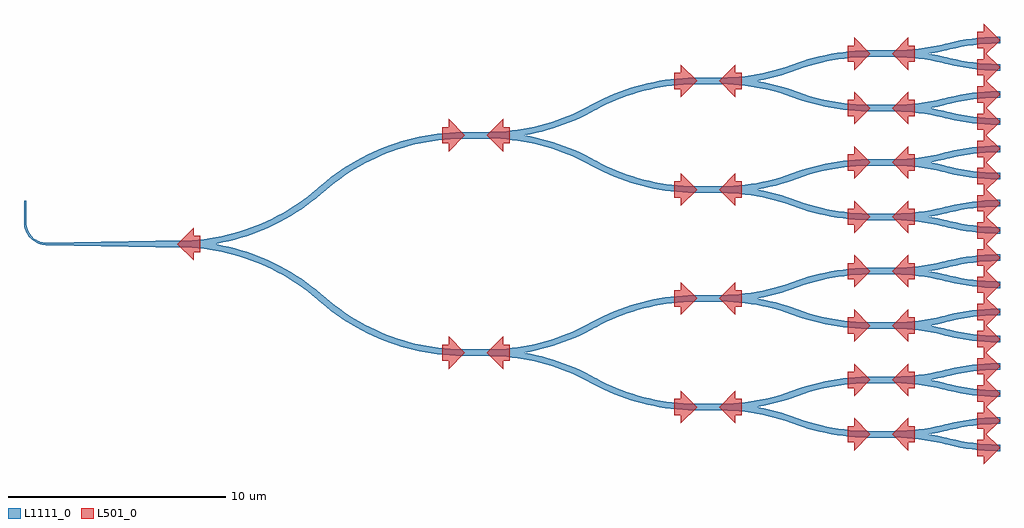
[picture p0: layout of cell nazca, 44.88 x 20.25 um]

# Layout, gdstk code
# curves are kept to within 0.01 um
import gdstk
lib = gdstk.Library(unit=1e-6, precision=1e-09)
def R(c, l, rs):  # rectangles x0, y0, x1, y1
    for r in rs: c.add(gdstk.rectangle(r[:2], r[2:], *l))
def P(c, l, *ps):  # polygons
    for p in ps: c.add(gdstk.Polygon(p, *l))
L501_0 = (501, 0)
L1111_0 = (1111, 0)

laser = lib.new_cell('laser')
R(laser, L1111_0, [(-0.05,-1,0.05,0)])
P(laser, L1111_0, [(-0.05,-1),(0.05,-1),(0.07,-1.195),(0.115,-1.345),(0.184,-1.486),(0.328,-1.672),(0.514,-1.816),(0.655,-1.885),(0.805,-1.93),(1,-1.95),(1,-2.05),(0.784,-2.028),(0.618,-1.978),(0.462,-1.902),(0.257,-1.743),(0.098,-1.538),(0.022,-1.382),(-0.028,-1.216)])

mymmi = lib.new_cell('myMMI')
P(mymmi, L501_0, [(14.229,-5),(13.479,-5.75),(13.479,-5.375),(13.179,-5.375),(13.179,-4.625),(13.479,-4.625),(13.479,-4.25)],
  [(1,0),(1.75,0.75),(1.75,0.375),(2.05,0.375),(2.05,-0.375),(1.75,-0.375),(1.75,-0.75)],
  [(14.229,5),(13.479,4.25),(13.479,4.625),(13.179,4.625),(13.179,5.375),(13.479,5.375),(13.479,5.75)],
  [(1,0),(1.75,0.75),(1.75,0.375),(2.05,0.375),(2.05,-0.375),(1.75,-0.375),(1.75,-0.75)])
R(mymmi, L1111_0, [(0,-0.15,1,0.15)])
P(mymmi, L1111_0, [(7.515,-2.612),(7.714,-2.387),(8.027,-2.653),(8.462,-2.986),(9.147,-3.438),(9.868,-3.832),(10.618,-4.165),(11.394,-4.434),(11.923,-4.577),(12.459,-4.69),(13.272,-4.804),(13.818,-4.842),(14.229,-4.85),(14.229,-5.15),(13.806,-5.142),(13.243,-5.102),(12.405,-4.985),(11.579,-4.798),(10.772,-4.544),(9.989,-4.223),(9.484,-3.973),(8.992,-3.695),(8.286,-3.229),(7.838,-2.886)],
  [(1,-0.15),(1,0.15),(1.705,0.126),(2.546,0.032),(3.101,-0.069),(3.649,-0.202),(4.19,-0.364),(4.72,-0.556),(5.239,-0.777),(5.993,-1.163),(6.476,-1.454),(6.943,-1.771),(7.391,-2.114),(7.714,-2.387),(7.515,-2.613),(7.202,-2.347),(6.767,-2.014),(6.314,-1.706),(5.845,-1.424),(5.361,-1.168),(4.864,-0.939),(4.096,-0.649),(3.306,-0.423),(2.5,-0.265),(1.684,-0.173)],
  [(7.714,2.387),(7.515,2.613),(8.06,3.061),(8.517,3.391),(8.992,3.695),(9.484,3.973),(10.247,4.337),(10.772,4.544),(11.308,4.721),(12.128,4.931),(12.683,5.032),(13.243,5.102),(13.806,5.142),(14.229,5.15),(14.229,4.85),(13.818,4.842),(13.272,4.804),(12.729,4.735),(12.19,4.637),(11.394,4.434),(10.875,4.262),(10.365,4.061),(9.624,3.708),(8.914,3.294),(8.242,2.822)],
  [(1,-0.15),(1,0.15),(1.411,0.158),(1.957,0.196),(2.77,0.31),(3.571,0.491),(4.354,0.738),(5.114,1.05),(5.605,1.292),(6.082,1.562),(6.767,2.014),(7.202,2.347),(7.515,2.613),(7.714,2.387),(7.391,2.114),(6.943,1.771),(6.236,1.305),(5.745,1.027),(5.239,0.777),(4.456,0.456),(3.649,0.202),(2.824,0.015),(1.986,-0.102),(1.423,-0.142)])

mymmi_387 = lib.new_cell('myMMI_387')
P(mymmi_387, L501_0, [(10.682,-2.5),(9.932,-3.25),(9.932,-2.875),(9.632,-2.875),(9.632,-2.125),(9.932,-2.125),(9.932,-1.75)],
  [(1,0),(1.75,0.75),(1.75,0.375),(2.05,0.375),(2.05,-0.375),(1.75,-0.375),(1.75,-0.75)],
  [(10.682,2.5),(9.932,1.75),(9.932,2.125),(9.632,2.125),(9.632,2.875),(9.932,2.875),(9.932,3.25)],
  [(1,0),(1.75,0.75),(1.75,0.375),(2.05,0.375),(2.05,-0.375),(1.75,-0.375),(1.75,-0.75)])
R(mymmi_387, L1111_0, [(0,-0.15,1,0.15)])
P(mymmi_387, L1111_0, [(5.769,-1.381),(5.914,-1.119),(6.497,-1.417),(6.977,-1.627),(7.467,-1.811),(8.22,-2.038),(8.73,-2.155),(9.506,-2.28),(10.028,-2.329),(10.682,-2.35),(10.682,-2.65),(10.008,-2.628),(9.47,-2.578),(8.936,-2.499),(8.145,-2.328),(7.626,-2.179),(6.864,-1.905),(6.369,-1.688)],
  [(1,-0.15),(1,0.15),(1.405,0.142),(1.944,0.106),(2.48,0.042),(3.011,-0.051),(3.798,-0.243),(4.567,-0.497),(5.313,-0.812),(5.914,-1.119),(5.769,-1.381),(5.186,-1.083),(4.705,-0.873),(4.215,-0.689),(3.463,-0.462),(2.952,-0.345),(2.176,-0.22),(1.655,-0.171)],
  [(5.914,1.119),(5.769,1.381),(6.127,1.57),(6.615,1.8),(7.116,2.003),(7.626,2.179),(8.407,2.392),(9.203,2.542),(10.008,2.628),(10.682,2.65),(10.682,2.35),(10.028,2.329),(9.506,2.28),(8.73,2.155),(8.22,2.038),(7.467,1.811),(6.977,1.627),(6.497,1.417)],
  [(1,-0.15),(1,0.15),(1.655,0.171),(2.176,0.22),(2.952,0.345),(3.463,0.462),(4.215,0.689),(4.705,0.873),(5.186,1.083),(5.769,1.381),(5.914,1.119),(5.313,0.812),(4.818,0.595),(4.057,0.321),(3.538,0.172),(2.746,0.001),(2.212,-0.078),(1.674,-0.128)])

mymmi_399 = lib.new_cell('myMMI_399')
P(mymmi_399, L501_0, [(10.682,-2.5),(9.932,-3.25),(9.932,-2.875),(9.632,-2.875),(9.632,-2.125),(9.932,-2.125),(9.932,-1.75)],
  [(1,0),(1.75,0.75),(1.75,0.375),(2.05,0.375),(2.05,-0.375),(1.75,-0.375),(1.75,-0.75)],
  [(10.682,2.5),(9.932,1.75),(9.932,2.125),(9.632,2.125),(9.632,2.875),(9.932,2.875),(9.932,3.25)],
  [(1,0),(1.75,0.75),(1.75,0.375),(2.05,0.375),(2.05,-0.375),(1.75,-0.375),(1.75,-0.75)])
R(mymmi_399, L1111_0, [(0,-0.15,1,0.15)])
P(mymmi_399, L1111_0, [(5.769,-1.381),(5.914,-1.119),(6.497,-1.417),(6.977,-1.627),(7.467,-1.811),(8.22,-2.038),(8.73,-2.155),(9.506,-2.28),(10.028,-2.329),(10.682,-2.35),(10.682,-2.65),(10.008,-2.628),(9.47,-2.578),(8.936,-2.499),(8.145,-2.328),(7.626,-2.179),(6.864,-1.905),(6.369,-1.688)],
  [(1,-0.15),(1,0.15),(1.405,0.142),(1.944,0.106),(2.48,0.042),(3.011,-0.051),(3.798,-0.243),(4.567,-0.497),(5.313,-0.812),(5.914,-1.119),(5.769,-1.381),(5.186,-1.083),(4.705,-0.873),(4.215,-0.689),(3.463,-0.462),(2.952,-0.345),(2.176,-0.22),(1.655,-0.171)],
  [(5.914,1.119),(5.769,1.381),(6.127,1.57),(6.615,1.8),(7.116,2.003),(7.626,2.179),(8.407,2.392),(9.203,2.542),(10.008,2.628),(10.682,2.65),(10.682,2.35),(10.028,2.329),(9.506,2.28),(8.73,2.155),(8.22,2.038),(7.467,1.811),(6.977,1.627),(6.497,1.417)],
  [(1,-0.15),(1,0.15),(1.655,0.171),(2.176,0.22),(2.952,0.345),(3.463,0.462),(4.215,0.689),(4.705,0.873),(5.186,1.083),(5.769,1.381),(5.914,1.119),(5.313,0.812),(4.818,0.595),(4.057,0.321),(3.538,0.172),(2.746,0.001),(2.212,-0.078),(1.674,-0.128)])

mymmi_411 = lib.new_cell('myMMI_411')
P(mymmi_411, L501_0, [(7.96,-1.25),(7.21,-2),(7.21,-1.625),(6.91,-1.625),(6.91,-0.875),(7.21,-0.875),(7.21,-0.5)],
  [(1,0),(1.75,0.75),(1.75,0.375),(2.05,0.375),(2.05,-0.375),(1.75,-0.375),(1.75,-0.75)],
  [(7.96,1.25),(7.21,0.5),(7.21,0.875),(6.91,0.875),(6.91,1.625),(7.21,1.625),(7.21,2)],
  [(1,0),(1.75,0.75),(1.75,0.375),(2.05,0.375),(2.05,-0.375),(1.75,-0.375),(1.75,-0.75)])
R(mymmi_411, L1111_0, [(0,-0.15,1,0.15)])
P(mymmi_411, L1111_0, [(4.428,-0.766),(4.532,-0.484),(4.913,-0.617),(5.43,-0.77),(6.218,-0.945),(7.019,-1.055),(7.556,-1.092),(7.96,-1.1),(7.96,-1.4),(7.544,-1.392),(6.99,-1.354),(6.165,-1.24),(5.353,-1.06),(4.821,-0.903)],
  [(1,-0.15),(1,0.15),(1.416,0.142),(1.97,0.104),(2.521,0.036),(3.338,-0.123),(3.874,-0.265),(4.532,-0.484),(4.428,-0.766),(4.046,-0.633),(3.53,-0.48),(2.741,-0.305),(1.941,-0.195),(1.404,-0.158)],
  [(4.532,0.484),(4.428,0.766),(4.821,0.903),(5.353,1.06),(5.893,1.188),(6.714,1.324),(7.266,1.377),(7.96,1.4),(7.96,1.1),(7.556,1.092),(7.019,1.055),(6.218,0.945),(5.43,0.77),(4.913,0.617)],
  [(1,-0.15),(1,0.15),(1.404,0.158),(1.941,0.195),(2.741,0.305),(3.53,0.48),(4.046,0.633),(4.428,0.766),(4.532,0.484),(4.139,0.347),(3.607,0.19),(2.794,0.01),(1.97,-0.104),(1.416,-0.142)])

mymmi_423 = lib.new_cell('myMMI_423')
P(mymmi_423, L501_0, [(7.96,-1.25),(7.21,-2),(7.21,-1.625),(6.91,-1.625),(6.91,-0.875),(7.21,-0.875),(7.21,-0.5)],
  [(1,0),(1.75,0.75),(1.75,0.375),(2.05,0.375),(2.05,-0.375),(1.75,-0.375),(1.75,-0.75)],
  [(7.96,1.25),(7.21,0.5),(7.21,0.875),(6.91,0.875),(6.91,1.625),(7.21,1.625),(7.21,2)],
  [(1,0),(1.75,0.75),(1.75,0.375),(2.05,0.375),(2.05,-0.375),(1.75,-0.375),(1.75,-0.75)])
R(mymmi_423, L1111_0, [(0,-0.15,1,0.15)])
P(mymmi_423, L1111_0, [(4.428,-0.766),(4.532,-0.484),(4.913,-0.617),(5.43,-0.77),(6.218,-0.945),(7.019,-1.055),(7.556,-1.092),(7.96,-1.1),(7.96,-1.4),(7.544,-1.392),(6.99,-1.354),(6.165,-1.24),(5.353,-1.06),(4.821,-0.903)],
  [(1,-0.15),(1,0.15),(1.416,0.142),(1.97,0.104),(2.521,0.036),(3.338,-0.123),(3.874,-0.265),(4.532,-0.484),(4.428,-0.766),(4.046,-0.633),(3.53,-0.48),(2.741,-0.305),(1.941,-0.195),(1.404,-0.158)],
  [(4.532,0.484),(4.428,0.766),(4.821,0.903),(5.353,1.06),(5.893,1.188),(6.714,1.324),(7.266,1.377),(7.96,1.4),(7.96,1.1),(7.556,1.092),(7.019,1.055),(6.218,0.945),(5.43,0.77),(4.913,0.617)],
  [(1,-0.15),(1,0.15),(1.404,0.158),(1.941,0.195),(2.741,0.305),(3.53,0.48),(4.046,0.633),(4.428,0.766),(4.532,0.484),(4.139,0.347),(3.607,0.19),(2.794,0.01),(1.97,-0.104),(1.416,-0.142)])

mymmi_435 = lib.new_cell('myMMI_435')
P(mymmi_435, L501_0, [(7.96,-1.25),(7.21,-2),(7.21,-1.625),(6.91,-1.625),(6.91,-0.875),(7.21,-0.875),(7.21,-0.5)],
  [(1,0),(1.75,0.75),(1.75,0.375),(2.05,0.375),(2.05,-0.375),(1.75,-0.375),(1.75,-0.75)],
  [(7.96,1.25),(7.21,0.5),(7.21,0.875),(6.91,0.875),(6.91,1.625),(7.21,1.625),(7.21,2)],
  [(1,0),(1.75,0.75),(1.75,0.375),(2.05,0.375),(2.05,-0.375),(1.75,-0.375),(1.75,-0.75)])
R(mymmi_435, L1111_0, [(0,-0.15,1,0.15)])
P(mymmi_435, L1111_0, [(4.428,-0.766),(4.532,-0.484),(4.913,-0.617),(5.43,-0.77),(6.218,-0.945),(7.019,-1.055),(7.556,-1.092),(7.96,-1.1),(7.96,-1.4),(7.544,-1.392),(6.99,-1.354),(6.165,-1.24),(5.353,-1.06),(4.821,-0.903)],
  [(1,-0.15),(1,0.15),(1.416,0.142),(1.97,0.104),(2.521,0.036),(3.338,-0.123),(3.874,-0.265),(4.532,-0.484),(4.428,-0.766),(4.046,-0.633),(3.53,-0.48),(2.741,-0.305),(1.941,-0.195),(1.404,-0.158)],
  [(4.532,0.484),(4.428,0.766),(4.821,0.903),(5.353,1.06),(5.893,1.188),(6.714,1.324),(7.266,1.377),(7.96,1.4),(7.96,1.1),(7.556,1.092),(7.019,1.055),(6.218,0.945),(5.43,0.77),(4.913,0.617)],
  [(1,-0.15),(1,0.15),(1.404,0.158),(1.941,0.195),(2.741,0.305),(3.53,0.48),(4.046,0.633),(4.428,0.766),(4.532,0.484),(4.139,0.347),(3.607,0.19),(2.794,0.01),(1.97,-0.104),(1.416,-0.142)])

mymmi_447 = lib.new_cell('myMMI_447')
P(mymmi_447, L501_0, [(7.96,-1.25),(7.21,-2),(7.21,-1.625),(6.91,-1.625),(6.91,-0.875),(7.21,-0.875),(7.21,-0.5)],
  [(1,0),(1.75,0.75),(1.75,0.375),(2.05,0.375),(2.05,-0.375),(1.75,-0.375),(1.75,-0.75)],
  [(7.96,1.25),(7.21,0.5),(7.21,0.875),(6.91,0.875),(6.91,1.625),(7.21,1.625),(7.21,2)],
  [(1,0),(1.75,0.75),(1.75,0.375),(2.05,0.375),(2.05,-0.375),(1.75,-0.375),(1.75,-0.75)])
R(mymmi_447, L1111_0, [(0,-0.15,1,0.15)])
P(mymmi_447, L1111_0, [(4.428,-0.766),(4.532,-0.484),(4.913,-0.617),(5.43,-0.77),(6.218,-0.945),(7.019,-1.055),(7.556,-1.092),(7.96,-1.1),(7.96,-1.4),(7.544,-1.392),(6.99,-1.354),(6.165,-1.24),(5.353,-1.06),(4.821,-0.903)],
  [(1,-0.15),(1,0.15),(1.416,0.142),(1.97,0.104),(2.521,0.036),(3.338,-0.123),(3.874,-0.265),(4.532,-0.484),(4.428,-0.766),(4.046,-0.633),(3.53,-0.48),(2.741,-0.305),(1.941,-0.195),(1.404,-0.158)],
  [(4.532,0.484),(4.428,0.766),(4.821,0.903),(5.353,1.06),(5.893,1.188),(6.714,1.324),(7.266,1.377),(7.96,1.4),(7.96,1.1),(7.556,1.092),(7.019,1.055),(6.218,0.945),(5.43,0.77),(4.913,0.617)],
  [(1,-0.15),(1,0.15),(1.404,0.158),(1.941,0.195),(2.741,0.305),(3.53,0.48),(4.046,0.633),(4.428,0.766),(4.532,0.484),(4.139,0.347),(3.607,0.19),(2.794,0.01),(1.97,-0.104),(1.416,-0.142)])

mymmi_459 = lib.new_cell('myMMI_459')
P(mymmi_459, L501_0, [(5.961,-0.625),(5.211,-1.375),(5.211,-1),(4.911,-1),(4.911,-0.25),(5.211,-0.25),(5.211,0.125)],
  [(1,0),(1.75,0.75),(1.75,0.375),(2.05,0.375),(2.05,-0.375),(1.75,-0.375),(1.75,-0.75)],
  [(5.961,0.625),(5.211,-0.125),(5.211,0.25),(4.911,0.25),(4.911,1),(5.211,1),(5.211,1.375)],
  [(1,0),(1.75,0.75),(1.75,0.375),(2.05,0.375),(2.05,-0.375),(1.75,-0.375),(1.75,-0.75)])
R(mymmi_459, L1111_0, [(0,-0.15,1,0.15)])
P(mymmi_459, L1111_0, [(3.443,-0.458),(3.518,-0.167),(4.187,-0.314),(4.729,-0.398),(5.275,-0.451),(5.961,-0.475),(5.961,-0.775),(5.255,-0.751),(4.692,-0.696),(4.133,-0.609)],
  [(1,-0.15),(1,0.15),(1.706,0.126),(2.269,0.071),(2.827,-0.016),(3.518,-0.167),(3.443,-0.458),(2.773,-0.311),(2.231,-0.227),(1.685,-0.174)],
  [(3.518,0.167),(3.443,0.458),(4.133,0.609),(4.692,0.696),(5.255,0.751),(5.961,0.775),(5.961,0.475),(5.275,0.451),(4.729,0.398),(4.187,0.314)],
  [(1,-0.15),(1,0.15),(1.685,0.174),(2.231,0.227),(2.773,0.311),(3.443,0.458),(3.518,0.167),(2.827,0.016),(2.269,-0.071),(1.706,-0.126)])

mymmi_471 = lib.new_cell('myMMI_471')
P(mymmi_471, L501_0, [(5.961,-0.625),(5.211,-1.375),(5.211,-1),(4.911,-1),(4.911,-0.25),(5.211,-0.25),(5.211,0.125)],
  [(1,0),(1.75,0.75),(1.75,0.375),(2.05,0.375),(2.05,-0.375),(1.75,-0.375),(1.75,-0.75)],
  [(5.961,0.625),(5.211,-0.125),(5.211,0.25),(4.911,0.25),(4.911,1),(5.211,1),(5.211,1.375)],
  [(1,0),(1.75,0.75),(1.75,0.375),(2.05,0.375),(2.05,-0.375),(1.75,-0.375),(1.75,-0.75)])
R(mymmi_471, L1111_0, [(0,-0.15,1,0.15)])
P(mymmi_471, L1111_0, [(3.443,-0.458),(3.518,-0.167),(4.187,-0.314),(4.729,-0.398),(5.275,-0.451),(5.961,-0.475),(5.961,-0.775),(5.255,-0.751),(4.692,-0.696),(4.133,-0.609)],
  [(1,-0.15),(1,0.15),(1.706,0.126),(2.269,0.071),(2.827,-0.016),(3.518,-0.167),(3.443,-0.458),(2.773,-0.311),(2.231,-0.227),(1.685,-0.174)],
  [(3.518,0.167),(3.443,0.458),(4.133,0.609),(4.692,0.696),(5.255,0.751),(5.961,0.775),(5.961,0.475),(5.275,0.451),(4.729,0.398),(4.187,0.314)],
  [(1,-0.15),(1,0.15),(1.685,0.174),(2.231,0.227),(2.773,0.311),(3.443,0.458),(3.518,0.167),(2.827,0.016),(2.269,-0.071),(1.706,-0.126)])

mymmi_483 = lib.new_cell('myMMI_483')
P(mymmi_483, L501_0, [(5.961,-0.625),(5.211,-1.375),(5.211,-1),(4.911,-1),(4.911,-0.25),(5.211,-0.25),(5.211,0.125)],
  [(1,0),(1.75,0.75),(1.75,0.375),(2.05,0.375),(2.05,-0.375),(1.75,-0.375),(1.75,-0.75)],
  [(5.961,0.625),(5.211,-0.125),(5.211,0.25),(4.911,0.25),(4.911,1),(5.211,1),(5.211,1.375)],
  [(1,0),(1.75,0.75),(1.75,0.375),(2.05,0.375),(2.05,-0.375),(1.75,-0.375),(1.75,-0.75)])
R(mymmi_483, L1111_0, [(0,-0.15,1,0.15)])
P(mymmi_483, L1111_0, [(3.443,-0.458),(3.518,-0.167),(4.187,-0.314),(4.729,-0.398),(5.275,-0.451),(5.961,-0.475),(5.961,-0.775),(5.255,-0.751),(4.692,-0.696),(4.133,-0.609)],
  [(1,-0.15),(1,0.15),(1.706,0.126),(2.269,0.071),(2.827,-0.016),(3.518,-0.167),(3.443,-0.458),(2.773,-0.311),(2.231,-0.227),(1.685,-0.174)],
  [(3.518,0.167),(3.443,0.458),(4.133,0.609),(4.692,0.696),(5.255,0.751),(5.961,0.775),(5.961,0.475),(5.275,0.451),(4.729,0.398),(4.187,0.314)],
  [(1,-0.15),(1,0.15),(1.685,0.174),(2.231,0.227),(2.773,0.311),(3.443,0.458),(3.518,0.167),(2.827,0.016),(2.269,-0.071),(1.706,-0.126)])

mymmi_495 = lib.new_cell('myMMI_495')
P(mymmi_495, L501_0, [(5.961,-0.625),(5.211,-1.375),(5.211,-1),(4.911,-1),(4.911,-0.25),(5.211,-0.25),(5.211,0.125)],
  [(1,0),(1.75,0.75),(1.75,0.375),(2.05,0.375),(2.05,-0.375),(1.75,-0.375),(1.75,-0.75)],
  [(5.961,0.625),(5.211,-0.125),(5.211,0.25),(4.911,0.25),(4.911,1),(5.211,1),(5.211,1.375)],
  [(1,0),(1.75,0.75),(1.75,0.375),(2.05,0.375),(2.05,-0.375),(1.75,-0.375),(1.75,-0.75)])
R(mymmi_495, L1111_0, [(0,-0.15,1,0.15)])
P(mymmi_495, L1111_0, [(3.443,-0.458),(3.518,-0.167),(4.187,-0.314),(4.729,-0.398),(5.275,-0.451),(5.961,-0.475),(5.961,-0.775),(5.255,-0.751),(4.692,-0.696),(4.133,-0.609)],
  [(1,-0.15),(1,0.15),(1.706,0.126),(2.269,0.071),(2.827,-0.016),(3.518,-0.167),(3.443,-0.458),(2.773,-0.311),(2.231,-0.227),(1.685,-0.174)],
  [(3.518,0.167),(3.443,0.458),(4.133,0.609),(4.692,0.696),(5.255,0.751),(5.961,0.775),(5.961,0.475),(5.275,0.451),(4.729,0.398),(4.187,0.314)],
  [(1,-0.15),(1,0.15),(1.685,0.174),(2.231,0.227),(2.773,0.311),(3.443,0.458),(3.518,0.167),(2.827,0.016),(2.269,-0.071),(1.706,-0.126)])

mymmi_507 = lib.new_cell('myMMI_507')
P(mymmi_507, L501_0, [(5.961,-0.625),(5.211,-1.375),(5.211,-1),(4.911,-1),(4.911,-0.25),(5.211,-0.25),(5.211,0.125)],
  [(1,0),(1.75,0.75),(1.75,0.375),(2.05,0.375),(2.05,-0.375),(1.75,-0.375),(1.75,-0.75)],
  [(5.961,0.625),(5.211,-0.125),(5.211,0.25),(4.911,0.25),(4.911,1),(5.211,1),(5.211,1.375)],
  [(1,0),(1.75,0.75),(1.75,0.375),(2.05,0.375),(2.05,-0.375),(1.75,-0.375),(1.75,-0.75)])
R(mymmi_507, L1111_0, [(0,-0.15,1,0.15)])
P(mymmi_507, L1111_0, [(3.443,-0.458),(3.518,-0.167),(4.187,-0.314),(4.729,-0.398),(5.275,-0.451),(5.961,-0.475),(5.961,-0.775),(5.255,-0.751),(4.692,-0.696),(4.133,-0.609)],
  [(1,-0.15),(1,0.15),(1.706,0.126),(2.269,0.071),(2.827,-0.016),(3.518,-0.167),(3.443,-0.458),(2.773,-0.311),(2.231,-0.227),(1.685,-0.174)],
  [(3.518,0.167),(3.443,0.458),(4.133,0.609),(4.692,0.696),(5.255,0.751),(5.961,0.775),(5.961,0.475),(5.275,0.451),(4.729,0.398),(4.187,0.314)],
  [(1,-0.15),(1,0.15),(1.685,0.174),(2.231,0.227),(2.773,0.311),(3.443,0.458),(3.518,0.167),(2.827,0.016),(2.269,-0.071),(1.706,-0.126)])

mymmi_519 = lib.new_cell('myMMI_519')
P(mymmi_519, L501_0, [(5.961,-0.625),(5.211,-1.375),(5.211,-1),(4.911,-1),(4.911,-0.25),(5.211,-0.25),(5.211,0.125)],
  [(1,0),(1.75,0.75),(1.75,0.375),(2.05,0.375),(2.05,-0.375),(1.75,-0.375),(1.75,-0.75)],
  [(5.961,0.625),(5.211,-0.125),(5.211,0.25),(4.911,0.25),(4.911,1),(5.211,1),(5.211,1.375)],
  [(1,0),(1.75,0.75),(1.75,0.375),(2.05,0.375),(2.05,-0.375),(1.75,-0.375),(1.75,-0.75)])
R(mymmi_519, L1111_0, [(0,-0.15,1,0.15)])
P(mymmi_519, L1111_0, [(3.443,-0.458),(3.518,-0.167),(4.187,-0.314),(4.729,-0.398),(5.275,-0.451),(5.961,-0.475),(5.961,-0.775),(5.255,-0.751),(4.692,-0.696),(4.133,-0.609)],
  [(1,-0.15),(1,0.15),(1.706,0.126),(2.269,0.071),(2.827,-0.016),(3.518,-0.167),(3.443,-0.458),(2.773,-0.311),(2.231,-0.227),(1.685,-0.174)],
  [(3.518,0.167),(3.443,0.458),(4.133,0.609),(4.692,0.696),(5.255,0.751),(5.961,0.775),(5.961,0.475),(5.275,0.451),(4.729,0.398),(4.187,0.314)],
  [(1,-0.15),(1,0.15),(1.685,0.174),(2.231,0.227),(2.773,0.311),(3.443,0.458),(3.518,0.167),(2.827,0.016),(2.269,-0.071),(1.706,-0.126)])

mymmi_531 = lib.new_cell('myMMI_531')
P(mymmi_531, L501_0, [(5.961,-0.625),(5.211,-1.375),(5.211,-1),(4.911,-1),(4.911,-0.25),(5.211,-0.25),(5.211,0.125)],
  [(1,0),(1.75,0.75),(1.75,0.375),(2.05,0.375),(2.05,-0.375),(1.75,-0.375),(1.75,-0.75)],
  [(5.961,0.625),(5.211,-0.125),(5.211,0.25),(4.911,0.25),(4.911,1),(5.211,1),(5.211,1.375)],
  [(1,0),(1.75,0.75),(1.75,0.375),(2.05,0.375),(2.05,-0.375),(1.75,-0.375),(1.75,-0.75)])
R(mymmi_531, L1111_0, [(0,-0.15,1,0.15)])
P(mymmi_531, L1111_0, [(3.443,-0.458),(3.518,-0.167),(4.187,-0.314),(4.729,-0.398),(5.275,-0.451),(5.961,-0.475),(5.961,-0.775),(5.255,-0.751),(4.692,-0.696),(4.133,-0.609)],
  [(1,-0.15),(1,0.15),(1.706,0.126),(2.269,0.071),(2.827,-0.016),(3.518,-0.167),(3.443,-0.458),(2.773,-0.311),(2.231,-0.227),(1.685,-0.174)],
  [(3.518,0.167),(3.443,0.458),(4.133,0.609),(4.692,0.696),(5.255,0.751),(5.961,0.775),(5.961,0.475),(5.275,0.451),(4.729,0.398),(4.187,0.314)],
  [(1,-0.15),(1,0.15),(1.685,0.174),(2.231,0.227),(2.773,0.311),(3.443,0.458),(3.518,0.167),(2.827,0.016),(2.269,-0.071),(1.706,-0.126)])

mymmi_543 = lib.new_cell('myMMI_543')
P(mymmi_543, L501_0, [(5.961,-0.625),(5.211,-1.375),(5.211,-1),(4.911,-1),(4.911,-0.25),(5.211,-0.25),(5.211,0.125)],
  [(1,0),(1.75,0.75),(1.75,0.375),(2.05,0.375),(2.05,-0.375),(1.75,-0.375),(1.75,-0.75)],
  [(5.961,0.625),(5.211,-0.125),(5.211,0.25),(4.911,0.25),(4.911,1),(5.211,1),(5.211,1.375)],
  [(1,0),(1.75,0.75),(1.75,0.375),(2.05,0.375),(2.05,-0.375),(1.75,-0.375),(1.75,-0.75)])
R(mymmi_543, L1111_0, [(0,-0.15,1,0.15)])
P(mymmi_543, L1111_0, [(3.443,-0.458),(3.518,-0.167),(4.187,-0.314),(4.729,-0.398),(5.275,-0.451),(5.961,-0.475),(5.961,-0.775),(5.255,-0.751),(4.692,-0.696),(4.133,-0.609)],
  [(1,-0.15),(1,0.15),(1.706,0.126),(2.269,0.071),(2.827,-0.016),(3.518,-0.167),(3.443,-0.458),(2.773,-0.311),(2.231,-0.227),(1.685,-0.174)],
  [(3.518,0.167),(3.443,0.458),(4.133,0.609),(4.692,0.696),(5.255,0.751),(5.961,0.775),(5.961,0.475),(5.275,0.451),(4.729,0.398),(4.187,0.314)],
  [(1,-0.15),(1,0.15),(1.685,0.174),(2.231,0.227),(2.773,0.311),(3.443,0.458),(3.518,0.167),(2.827,0.016),(2.269,-0.071),(1.706,-0.126)])

tree = lib.new_cell('tree')
tree.add(gdstk.Reference(mymmi, (0,0)))
tree.add(gdstk.Reference(mymmi_387, (14.229,5)))
tree.add(gdstk.Reference(mymmi_399, (14.229,-5)))
tree.add(gdstk.Reference(mymmi_411, (24.911,7.5)))
tree.add(gdstk.Reference(mymmi_423, (24.911,2.5)))
tree.add(gdstk.Reference(mymmi_435, (24.911,-2.5)))
tree.add(gdstk.Reference(mymmi_447, (24.911,-7.5)))
tree.add(gdstk.Reference(mymmi_459, (32.871,8.75)))
tree.add(gdstk.Reference(mymmi_471, (32.871,6.25)))
tree.add(gdstk.Reference(mymmi_483, (32.871,3.75)))
tree.add(gdstk.Reference(mymmi_495, (32.871,1.25)))
tree.add(gdstk.Reference(mymmi_507, (32.871,-1.25)))
tree.add(gdstk.Reference(mymmi_519, (32.871,-3.75)))
tree.add(gdstk.Reference(mymmi_531, (32.871,-6.25)))
tree.add(gdstk.Reference(mymmi_543, (32.871,-8.75)))

nazca = lib.new_cell('nazca')
P(nazca, L1111_0, [(1,-1.95),(6,-1.85),(6,-2.15),(1,-2.05)])
nazca.add(gdstk.Reference(laser, (0,0)))
nazca.add(gdstk.Reference(tree, (6,-2)))

lib.write_gds('nazca.gds')
